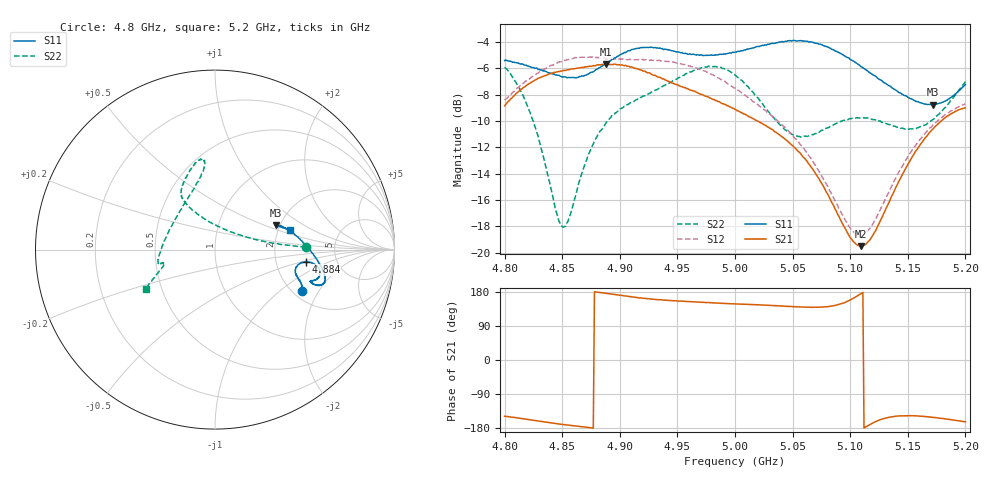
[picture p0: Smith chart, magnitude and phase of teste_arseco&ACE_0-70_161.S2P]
! Network Analyzer HP8722D
! Hewlett-Packard
! Data name: Linha & Wilkinson
! Saver's name: Rodrigo Anjos
! Comments: Teste da utilização de aquisição
! continua pelo VNA HP8722D
! Time and date: 8/5/2025 14:06
!  Frequency  S11  S21  S12  S22
# HZ  S  MA R 50
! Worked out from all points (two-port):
!   401 points, 4.8 GHz to 5.2 GHz, reference 50 ohm
!   highest |S21| = -5.70 dB at 4.888 GHz (marker M1); lowest = -19.5 dB at 5.109 GHz (marker M2)
!   |S21| within 3 dB of the highest: 4.802 GHz to 4.99 GHz (187.9 MHz wide, 3.84 % of centre)
!   lowest |S11| = -8.8 dB at 5.172 GHz (marker M3), VSWR 2.15, Z = 95 + j29.8 ohm
!   |S11| at or under -10 dB: nowhere
!   |S22| runs from -18.1 to -5.8 dB; largest |S21 - S12| = 1.1
!   S11 on the Smith chart (normalised r, x): 4.8 GHz: 2.24, -1.44; 4.884 GHz: 2.96, -0.54; 5.2 GHz: 2.33, +0.64
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4.8e9  0.5353 -25.4  0.3604 -148.4  0.3795 11.0  0.5048 1.6
4.814e9  0.5193 -22.2  0.4156 -154.1  0.4313 9.0  0.4096 3.3
4.824e9  0.5034 -20.3  0.4452 -158.6  0.4648 7.4  0.3218 6.4
4.849e9  0.4655 -16.2  0.4887 -169.5  0.5298 3.7  0.1267 57.1
4.855e9  0.4612 -14.4  0.4944 -171.9  0.5396 2.7  0.1316 84.2
4.867e9  0.468 -11.2  0.5045 -176.0  0.5508 0.9  0.1994 112.9
4.884e9  0.5088 -7.7  0.5171 177.8  0.5463 -0.3  0.292 122.1
4.888e9  0.5201 -7.4  0.5189 175.9  0.5439 -0.5  0.3106 122.4
4.912e9  0.5916 -10.6  0.5034 166.1  0.538 0.1  0.3745 120.2
4.934e9  0.5963 -15.4  0.4627 158.9  0.5377 -0.9  0.4203 113.8
4.975e9  0.5599 -18.4  0.3915 151.5  0.4868 -4.8  0.5054 99.8
5e9  0.5768 -19.1  0.3498 148.1  0.4211 -4.9  0.4723 97.3
5.017e9  0.6002 -19.3  0.3204 146.1  0.3714 -2.6  0.3979 102.8
5.045e9  0.6339 -17.2  0.2665 141.6  0.2937 3.5  0.2895 132.7
5.067e9  0.6292 -13.4  0.2088 139.1  0.224 9.5  0.2806 164.4
5.098e9  0.5493 -2.9  0.1181 155.5  0.1279 36.3  0.3196 -170.5
5.109e9  0.5093 2.1  0.1059 174.6  0.1164 57.9  0.3241 -167.1
5.119e9  0.4759 7.2  0.1153 -167.1  0.1274 77.4  0.32 -166.0
5.134e9  0.429 14.2  0.1562 -150.9  0.1716 94.8  0.3058 -165.3
5.155e9  0.3791 21.0  0.2352 -147.2  0.2493 102.1  0.2957 -164.1
5.172e9  0.3646 21.9  0.295 -151.4  0.3056 103.0  0.3207 -160.1
5.2e9  0.4349 14.8  0.3544 -163.1  0.3674 103.4  0.4454 -150.3
